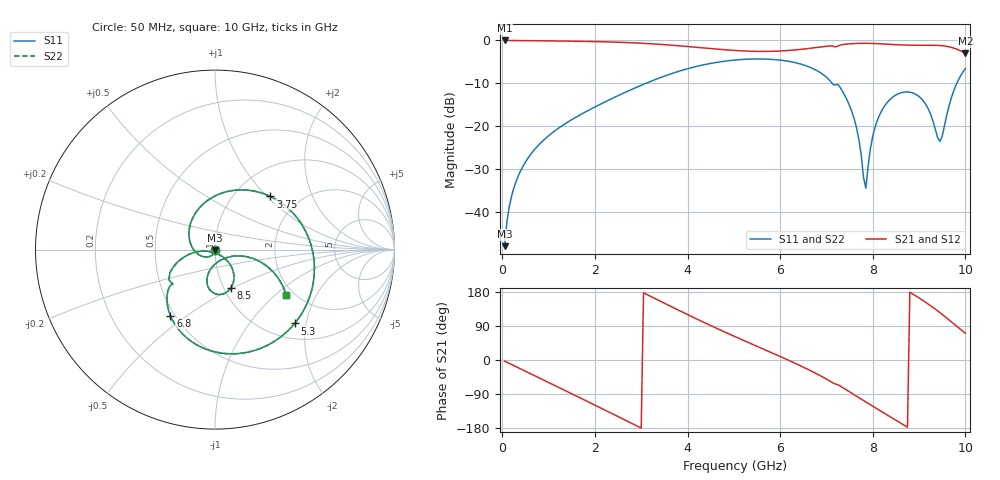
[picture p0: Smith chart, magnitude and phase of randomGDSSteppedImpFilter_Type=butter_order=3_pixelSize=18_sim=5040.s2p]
! freq	dB(S11)	phase(S11)	dB(S12)	phase(S12)
!  dB(S21)	phase(S21)	dB(S22)	phase(S22)
!S-par simulation data
#  GHz  S  DB  R 50
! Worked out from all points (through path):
!   200 points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, 50 MHz to 10 GHz, reference 50 ohm
!   highest |S21| = 0.00 dB at 50 MHz (marker M1); lowest = -3.0 dB at 10 GHz (marker M2)
!   group delay of S21, straight-line fit = 172 ps
!   lowest |S11| = -47.8 dB at 50 MHz (marker M3), VSWR 1.01, Z = 50 - j0.406 ohm
!   |S11| at or under -10 dB: start of sweep to 3.093 GHz; 7.127 GHz to 9.814 GHz (2.687 GHz wide, 31.7 % of centre)
!   |S22| runs from -47.8 to -4.3 dB; largest |S21 - S12| = 0
!   S11 on the Smith chart (normalised r, x): 50 MHz: 1.00, -0.01; 3.75 GHz: 1.44, +1.05; 5.3 GHz: 1.33, -1.72; 6.8 GHz: 0.47, -0.43; 8.5 GHz: 1.08, -0.49; 10 GHz: 1.82, -1.19
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0.05  -47.83 -87.6  -0.00 -3.0  -0.00 -3.0  -47.83 -87.6
0.2  -36.22 -100.4  -0.03 -11.9  -0.03 -11.9  -36.22 -100.4
0.5  -28.27 -119.9  -0.05 -29.7  -0.05 -29.7  -28.27 -119.9
1.15  -20.90 -159.5  -0.12 -68.2  -0.12 -68.2  -20.90 -159.5
1.75  -16.88 164.5  -0.21 -104.0  -0.21 -104.0  -16.88 164.5
2.6  -12.34 113.3  -0.45 -155.4  -0.45 -155.4  -12.34 113.3
3.4  -8.69 64.8  -0.90 155.9  -0.90 155.9  -8.69 64.8
3.75  -7.38 43.9  -1.18 134.8  -1.18 134.8  -7.38 43.9
4.35  -5.66 8.9  -1.75 99.4  -1.75 99.4  -5.66 9.0
5.05  -4.54 -29.5  -2.35 60.3  -2.35 60.3  -4.54 -29.5
5.3  -4.36 -42.8  -2.48 46.8  -2.48 46.8  -4.36 -42.8
6  -4.58 -79.5  -2.46 9.3  -2.46 9.3  -4.57 -79.4
6.7  -6.50 -118.1  -1.76 -30.9  -1.76 -30.9  -6.50 -118.1
6.8  -7.05 -124.0  -1.63 -37.1  -1.63 -37.1  -7.05 -124.0
7.5  -15.20 -166.9  -0.78 -84.2  -0.78 -84.2  -15.19 -166.8
7.85  -34.36 -91.0  -0.66 -110.7  -0.66 -110.7  -34.24 -91.3
8.05  -20.16 -42.7  -0.72 -125.8  -0.72 -125.8  -20.16 -42.9
8.35  -13.96 -58.5  -0.89 -148.0  -0.89 -148.0  -13.96 -58.6
8.5  -12.67 -67.8  -0.98 -159.0  -0.98 -159.0  -12.68 -67.9
9.05  -13.54 -100.7  -1.11 159.8  -1.11 159.8  -13.55 -100.8
9.45  -23.49 -60.2  -1.18 125.1  -1.18 125.1  -23.53 -60.2
10  -6.53 -32.5  -2.98 70.5  -2.98 70.5  -6.53 -32.5
